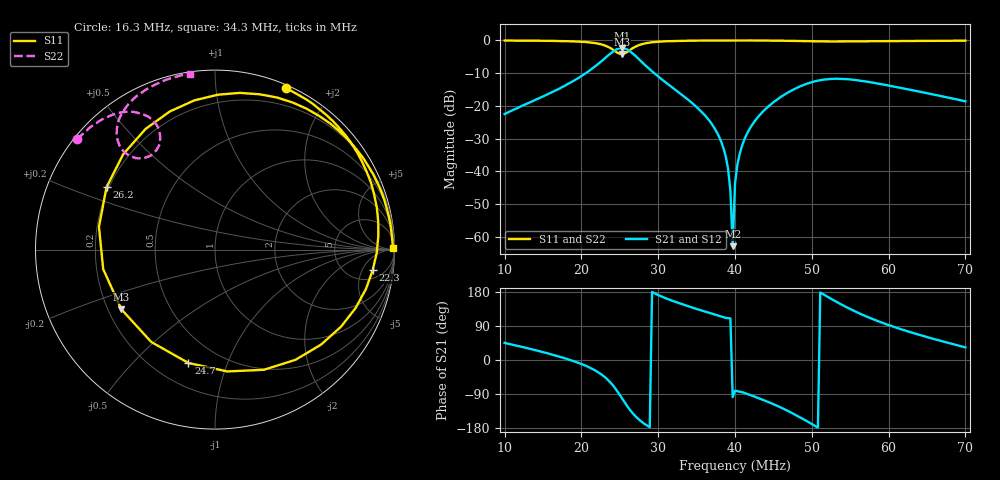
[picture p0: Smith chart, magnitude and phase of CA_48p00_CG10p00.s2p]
#  HZ  S  RI  R  50.00
! Rohde & Schwarz ZVT8 8Ports - Version 4.11 - 1300.0000k08 SN: 100242
! Date: 2026-07-31 15:04:48
! Measurements: S11 S21 S12 S22
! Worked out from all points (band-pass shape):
!   201 points, 10 MHz to 70 MHz, reference 50 ohm
!   highest |S21| = -2.31 dB at 25.3 MHz (marker M1); lowest = -62.8 dB at 39.7 MHz (marker M2)
!   |S21| within 3 dB of the highest: 23.12 MHz to 27.3 MHz (4.179 MHz wide, 16.6 % of centre)
!   lowest |S11| = -4.2 dB at 25.3 MHz (marker M3), VSWR 4.25, Z = 12.7 - j13.7 ohm
!   |S11| at or under -10 dB: nowhere
!   |S22| runs from -4.0 to 0.0 dB; largest |S21 - S12| = 0.0024
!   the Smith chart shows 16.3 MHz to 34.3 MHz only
!   S11 on the Smith chart (normalised r, x): 16.3 MHz: 0.03, +1.53; 22.3 MHz: 8, -8; 24.7 MHz: 0.34, -0.74; 26.2 MHz: 0.19, +0.26; 34.3 MHz: open
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1e7  -0.3971 0.9136  0.053 0.0534  0.0528 0.0535  -0.9192 0.3829
1.63e7  0.3941 0.9  0.1602 0.0385  0.1598 0.0389  -0.7679 0.6144
2.02e7  0.8444 0.4349  0.2888 -0.0621  0.2879 -0.0618  -0.5994 0.7386
2.23e7  0.8783 -0.1158  0.3728 -0.2499  0.3727 -0.2491  -0.451 0.7666
2.47e7  -0.1479 -0.6317  0.0887 -0.7373  0.0901 -0.7353  -0.3083 0.5861
2.53e7  -0.522 -0.3322  -0.1513 -0.751  -0.1512 -0.7501  -0.3595 0.5226
2.62e7  -0.6044 0.3476  -0.4348 -0.5492  -0.434 -0.5486  -0.4782 0.5234
2.77e7  0.0162 0.863  -0.4615 -0.1621  -0.4618 -0.1626  -0.5466 0.6758
3.01e7  0.6943 0.6586  -0.2711 0.0456  -0.2707 0.0448  -0.4388 0.8535
3.43e7  0.9907 0.00628  -0.086 0.0739  -0.0858 0.0737  -0.1399 0.9803
3.85e7  0.844 -0.5311  -0.00884 0.0207  -0.00876 0.0208  0.2318 0.9705
3.94e7  0.7793 -0.6214  -0.00172 0.00479  -0.00173 0.00484  0.3238 0.9427
3.97e7  0.7569 -0.6508  -9.91e-05 -0.000714  -0.000174 -0.000712  0.3537 0.9306
4e7  0.7313 -0.6781  0.00102 -0.00641  0.000971 -0.00642  0.3872 0.9185
4.09e7  0.6528 -0.7542  0.00219 -0.0241  0.00205 -0.0242  0.4817 0.8715
4.27e7  0.4756 -0.8744  -0.00826 -0.0608  -0.00812 -0.0605  0.6801 0.7248
4.69e7  0.0101 -0.985  -0.1125 -0.1142  -0.1121 -0.1141  0.9809 0.00949
5.02e7  -0.337 -0.9104  -0.2311 -0.0359  -0.2315 -0.0364  0.5964 -0.7596
5.26e7  -0.5516 -0.7888  -0.2434 0.086  -0.2437 0.0864  -0.0668 -0.9574
5.53e7  -0.7534 -0.6039  -0.1665 0.1876  -0.1662 0.1881  -0.6859 -0.674
6.01e7  -0.9631 -0.1511  -0.00593 0.2032  -0.00584 0.2027  -0.969 0.0978
7e7  -0.5735 0.8065  0.098 0.0642  0.098 0.064  -0.5063 0.8503
